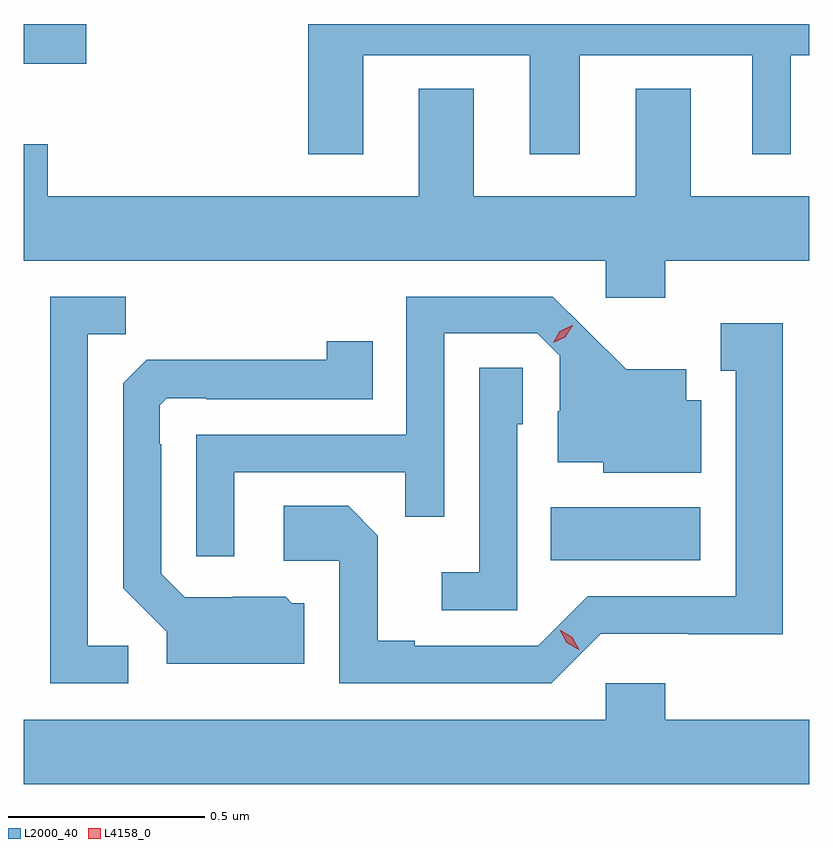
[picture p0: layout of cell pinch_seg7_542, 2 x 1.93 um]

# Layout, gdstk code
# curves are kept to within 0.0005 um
import gdstk
lib = gdstk.Library(unit=1e-6, precision=1e-09)
def R(c, l, rs):  # rectangles x0, y0, x1, y1
    for r in rs: c.add(gdstk.rectangle(r[:2], r[2:], *l))
def P(c, l, *ps):  # polygons
    for p in ps: c.add(gdstk.Polygon(p, *l))
L2000_40 = (2000, 40)
L4158_0 = (4158, 0)

pinch_seg7_542 = lib.new_cell('pinch_seg7_542')
R(pinch_seg7_542, L2000_40, [(155.572,1065.122,155.953,1065.256), (154.231,1066.385,154.39,1066.486)])
P(pinch_seg7_542, L2000_40, [(155.095,1066.406),(155.519,1066.406),(155.519,1066.155),(155.647,1066.155),(155.647,1066.406),(156.086,1066.406),(156.086,1066.155),(156.184,1066.155),(156.184,1066.406),(156.231,1066.406),(156.231,1066.486),(154.955,1066.486),(154.955,1066.155),(155.095,1066.155)],
  [(155.864,1065.884),(156.231,1065.884),(156.231,1066.048),(155.929,1066.048),(155.929,1066.321),(155.789,1066.321),(155.789,1066.048),(155.377,1066.048),(155.377,1066.321),(155.237,1066.321),(155.237,1066.048),(154.292,1066.048),(154.292,1066.18),(154.231,1066.18),(154.231,1065.884),(155.712,1065.884),(155.712,1065.789),(155.864,1065.789)],
  [(154.498,1064.904),(154.395,1064.904),(154.395,1065.697),(154.491,1065.697),(154.491,1065.792),(154.299,1065.792),(154.299,1064.808),(154.498,1064.808)],
  [(154.767,1065.345),(155.203,1065.345),(155.203,1065.232),(155.301,1065.232),(155.301,1065.699),(155.538,1065.699),(155.595,1065.642),(155.595,1065.5),(155.591,1065.5),(155.591,1065.371),(155.706,1065.371),(155.706,1065.344),(155.956,1065.344),(155.956,1065.529),(155.917,1065.529),(155.917,1065.607),(155.765,1065.607),(155.578,1065.792),(155.205,1065.792),(155.205,1065.441),(154.671,1065.441),(154.671,1065.132),(154.767,1065.132)],
  [(155.7,1064.934),(155.922,1064.934),(155.922,1064.933),(156.163,1064.933),(156.163,1065.724),(156.005,1065.724),(156.005,1065.603),(156.044,1065.603),(156.044,1065.03),(155.667,1065.03),(155.541,1064.904),(155.227,1064.904),(155.227,1064.917),(155.133,1064.917),(155.133,1065.184),(155.057,1065.26),(154.893,1065.26),(154.893,1065.12),(155.034,1065.12),(155.034,1064.808),(155.574,1064.808)],
  [(154.945,1065.012),(154.914,1065.012),(154.898,1065.028),(154.764,1065.028),(154.764,1065.027),(154.641,1065.027),(154.581,1065.087),(154.581,1065.416),(154.578,1065.416),(154.578,1065.516),(154.596,1065.534),(154.696,1065.534),(154.696,1065.531),(155.12,1065.531),(155.12,1065.679),(155.002,1065.679),(155.002,1065.632),(154.645,1065.632),(154.645,1065.631),(154.544,1065.631),(154.485,1065.572),(154.485,1065.05),(154.595,1064.94),(154.595,1064.858),(154.945,1064.858)],
  [(155.487,1065.468),(155.502,1065.468),(155.502,1065.611),(155.391,1065.611),(155.391,1065.091),(155.295,1065.091),(155.295,1064.994),(155.487,1064.994)],
  [(156.231,1064.716),(155.864,1064.716),(155.864,1064.809),(155.712,1064.809),(155.712,1064.716),(154.231,1064.716),(154.231,1064.552),(156.231,1064.552)])
P(pinch_seg7_542, L4158_0, [(155.644,1064.893),(155.613,1064.912),(155.595,1064.945),(155.595,1064.945),(155.596,1064.945),(155.627,1064.926),(155.645,1064.894),(155.645,1064.893)],
  [(155.579,1065.675),(155.579,1065.675),(155.596,1065.704),(155.627,1065.719),(155.628,1065.719),(155.628,1065.719),(155.61,1065.689),(155.579,1065.675)])

lib.write_gds('pinch_seg7_542.gds')
